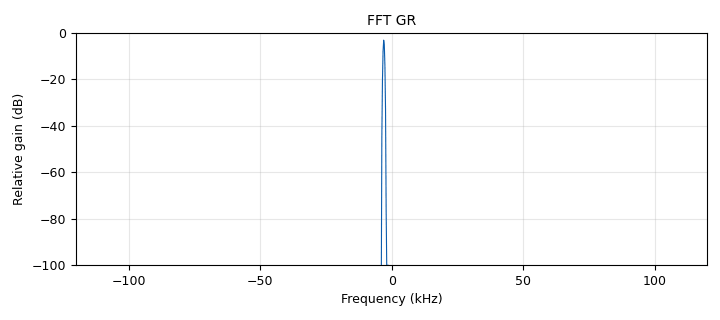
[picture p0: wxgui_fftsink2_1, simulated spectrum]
<?xml version='1.0' encoding='utf-8'?>
<?grc format='1' created='3.7.8'?>
<flow_graph>
<block>
<key>options</key>
<param><key>id</key><value>top_block</value></param>
<param><key>category</key><value>Custom</value></param>
<param><key>generate_options</key><value>wx_gui</value></param>
</block>
<block>
<key>variable_slider</key>
<param><key>id</key><value>ampl</value></param>
<param><key>converver</key><value>float_converter</value></param>
<param><key>value</key><value>1</value></param>
<param><key>label</key><value></value></param>
<param><key>max</key><value>1</value></param>
<param><key>min</key><value>0</value></param>
<param><key>num_steps</key><value>100</value></param>
<param><key>style</key><value>wx.SL_HORIZONTAL</value></param>
</block>
<block>
<key>variable_slider</key>
<param><key>id</key><value>freq</value></param>
<param><key>converver</key><value>float_converter</value></param>
<param><key>value</key><value>0</value></param>
<param><key>label</key><value></value></param>
<param><key>max</key><value>samp_rate/2</value></param>
<param><key>min</key><value>-samp_rate/2</value></param>
<param><key>num_steps</key><value>100</value></param>
<param><key>style</key><value>wx.SL_HORIZONTAL</value></param>
</block>
<block>
<key>variable</key>
<param><key>id</key><value>samp_rate</value></param>
<param><key>value</key><value>240000</value></param>
</block>
<block>
<key>analog_noise_source_x</key>
<param><key>id</key><value>analog_noise_source_x_0</value></param>
<param><key>amp</key><value>1</value></param>
<param><key>_enabled</key><value>0</value></param>
<param><key>noise_type</key><value>analog.GR_GAUSSIAN</value></param>
<param><key>type</key><value>complex</value></param>
<param><key>seed</key><value>0</value></param>
</block>
<block>
<key>analog_sig_source_x</key>
<param><key>id</key><value>analog_sig_source_x_0</value></param>
<param><key>amp</key><value>ampl</value></param>
<param><key>freq</key><value>freq</value></param>
<param><key>offset</key><value>0</value></param>
<param><key>type</key><value>complex</value></param>
<param><key>samp_rate</key><value>samp_rate</value></param>
<param><key>waveform</key><value>analog.GR_COS_WAVE</value></param>
</block>
<block>
<key>blocks_throttle</key>
<param><key>id</key><value>blocks_throttle_0</value></param>
<param><key>samples_per_second</key><value>samp_rate/10</value></param>
<param><key>type</key><value>complex</value></param>
</block>
<block>
<key>freq_xlating_fir_filter_xxx</key>
<param><key>id</key><value>freq_xlating_fir_filter_xxx_0</value></param>
<param><key>center_freq</key><value>3000</value></param>
<param><key>decim</key><value>1</value></param>
<param><key>samp_rate</key><value>samp_rate</value></param>
<param><key>taps</key><value>[1]</value></param>
<param><key>type</key><value>ccc</value></param>
</block>
<block>
<key>ha5kfu_execproc_xx</key>
<param><key>id</key><value>ha5kfu_execproc_xx_0</value></param>
<param><key>commandline</key><value>csdr convert_f_u8 | /home/pcfl/smallrx/rx 0 3000 f</value></param>
<param><key>type</key><value>cc</value></param>
</block>
<block>
<key>rtlsdr_source</key>
<param><key>id</key><value>rtlsdr_source_0</value></param>
<param><key>bb_gain0</key><value>20</value></param>
<param><key>freq0</key><value>145325e3</value></param>
<param><key>gain_mode0</key><value>False</value></param>
<param><key>if_gain0</key><value>20</value></param>
<param><key>gain0</key><value>10</value></param>
<param><key>args</key><value></value></param>
<param><key>_enabled</key><value>0</value></param>
<param><key>type</key><value>fc32</value></param>
<param><key>sample_rate</key><value>samp_rate</value></param>
<param><key>sync</key><value></value></param>
</block>
<block>
<key>wxgui_fftsink2</key>
<param><key>id</key><value>wxgui_fftsink2_0</value></param>
<param><key>avg_alpha</key><value>0</value></param>
<param><key>average</key><value>False</value></param>
<param><key>baseband_freq</key><value>0</value></param>
<param><key>fft_size</key><value>1024</value></param>
<param><key>freqvar</key><value>None</value></param>
<param><key>peak_hold</key><value>False</value></param>
<param><key>ref_level</key><value>0</value></param>
<param><key>ref_scale</key><value>2.0</value></param>
<param><key>fft_rate</key><value>15</value></param>
<param><key>samp_rate</key><value>samp_rate</value></param>
<param><key>title</key><value>FFT smallrx</value></param>
<param><key>type</key><value>complex</value></param>
<param><key>win</key><value>None</value></param>
<param><key>y_divs</key><value>10</value></param>
<param><key>y_per_div</key><value>10</value></param>
</block>
<block>
<key>wxgui_fftsink2</key>
<param><key>id</key><value>wxgui_fftsink2_1</value></param>
<param><key>avg_alpha</key><value>0</value></param>
<param><key>average</key><value>False</value></param>
<param><key>baseband_freq</key><value>0</value></param>
<param><key>fft_size</key><value>1024</value></param>
<param><key>freqvar</key><value>None</value></param>
<param><key>peak_hold</key><value>False</value></param>
<param><key>ref_level</key><value>0</value></param>
<param><key>ref_scale</key><value>2.0</value></param>
<param><key>fft_rate</key><value>15</value></param>
<param><key>samp_rate</key><value>samp_rate</value></param>
<param><key>title</key><value>FFT GR</value></param>
<param><key>type</key><value>complex</value></param>
<param><key>win</key><value>None</value></param>
<param><key>y_divs</key><value>10</value></param>
<param><key>y_per_div</key><value>10</value></param>
</block>
<connection><source_block_id>analog_noise_source_x_0</source_block_id><sink_block_id>blocks_throttle_0</sink_block_id><source_key>0</source_key><sink_key>0</sink_key></connection>
<connection><source_block_id>analog_sig_source_x_0</source_block_id><sink_block_id>blocks_throttle_0</sink_block_id><source_key>0</source_key><sink_key>0</sink_key></connection>
<connection><source_block_id>blocks_throttle_0</source_block_id><sink_block_id>freq_xlating_fir_filter_xxx_0</sink_block_id><source_key>0</source_key><sink_key>0</sink_key></connection>
<connection><source_block_id>blocks_throttle_0</source_block_id><sink_block_id>ha5kfu_execproc_xx_0</sink_block_id><source_key>0</source_key><sink_key>0</sink_key></connection>
<connection><source_block_id>freq_xlating_fir_filter_xxx_0</source_block_id><sink_block_id>wxgui_fftsink2_1</sink_block_id><source_key>0</source_key><sink_key>0</sink_key></connection>
<connection><source_block_id>ha5kfu_execproc_xx_0</source_block_id><sink_block_id>wxgui_fftsink2_0</sink_block_id><source_key>0</source_key><sink_key>0</sink_key></connection>
<connection><source_block_id>rtlsdr_source_0</source_block_id><sink_block_id>blocks_throttle_0</sink_block_id><source_key>0</source_key><sink_key>0</sink_key></connection>
</flow_graph>
